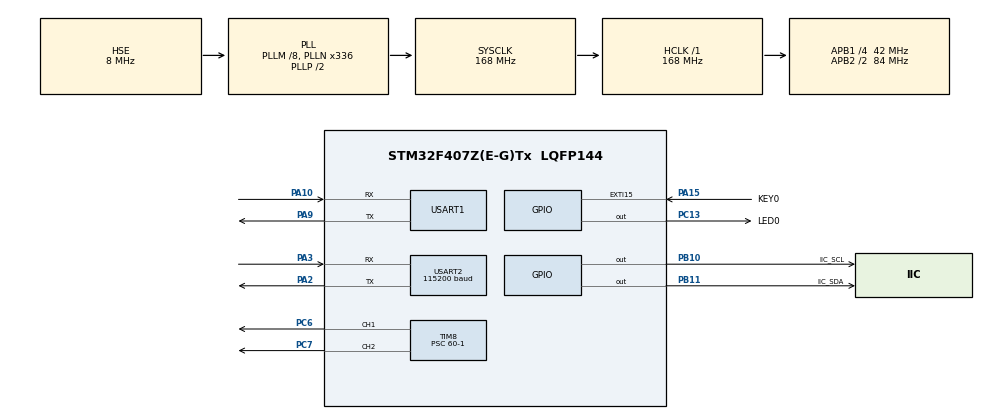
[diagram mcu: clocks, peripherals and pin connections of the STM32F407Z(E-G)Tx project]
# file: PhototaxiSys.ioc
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Dma.MEMTOMEM.0.Direction=DMA_MEMORY_TO_MEMORY
Dma.MEMTOMEM.0.FIFOMode=DMA_FIFOMODE_ENABLE
Dma.MEMTOMEM.0.FIFOThreshold=DMA_FIFO_THRESHOLD_FULL
Dma.MEMTOMEM.0.Instance=DMA2_Stream0
Dma.MEMTOMEM.0.MemBurst=DMA_MBURST_SINGLE
Dma.MEMTOMEM.0.MemDataAlignment=DMA_MDATAALIGN_BYTE
Dma.MEMTOMEM.0.MemInc=DMA_MINC_ENABLE
Dma.MEMTOMEM.0.Mode=DMA_NORMAL
Dma.MEMTOMEM.0.PeriphBurst=DMA_PBURST_SINGLE
Dma.MEMTOMEM.0.PeriphDataAlignment=DMA_PDATAALIGN_BYTE
Dma.MEMTOMEM.0.PeriphInc=DMA_PINC_ENABLE
Dma.MEMTOMEM.0.Priority=DMA_PRIORITY_VERY_HIGH
Dma.Request0=MEMTOMEM
Mcu.Family=STM32F4
Mcu.Name=STM32F407Z(E-G)Tx
Mcu.Package=LQFP144
NVIC.EXTI15_10_IRQn=true\:1\:0\:true\:false\:true\:true\:true\:true
NVIC.PriorityGroup=NVIC_PRIORITYGROUP_4
NVIC.TIM7_IRQn=true\:4\:0\:true\:false\:true\:true\:true\:true
NVIC.USART1_IRQn=true\:2\:0\:true\:false\:true\:true\:true\:true
NVIC.USART2_IRQn=true\:3\:0\:true\:false\:true\:true\:true\:true
PA10.Mode=Asynchronous
PA10.Signal=USART1_RX
PA13.Mode=Serial_Wire
PA13.Signal=SYS_JTMS-SWDIO
PA14.Mode=Serial_Wire
PA14.Signal=SYS_JTCK-SWCLK
PA15.GPIO_Label=KEY0
PA15.GPIO_ModeDefaultEXTI=GPIO_MODE_IT_FALLING
PA15.GPIO_PuPd=GPIO_PULLUP
PA15.Signal=GPXTI15
PA2.Mode=Asynchronous
PA2.Signal=USART2_TX
PA3.Mode=Asynchronous
PA3.Signal=USART2_RX
PA9.Mode=Asynchronous
PA9.Signal=USART1_TX
PB10.GPIO_Label=IIC_SCL
PB10.GPIO_PuPd=GPIO_PULLUP
PB10.GPIO_Speed=GPIO_SPEED_FREQ_VERY_HIGH
PB10.PinState=GPIO_PIN_SET
PB10.Signal=GPIO_Output
PB11.GPIO_Label=IIC_SDA
PB11.GPIO_PuPd=GPIO_PULLUP
PB11.GPIO_Speed=GPIO_SPEED_FREQ_VERY_HIGH
PB11.PinState=GPIO_PIN_SET
PB11.Signal=GPIO_Output
PC13-ANTI_TAMP.GPIO_Label=LED0
PC13-ANTI_TAMP.GPIO_PuPd=GPIO_PULLUP
PC13-ANTI_TAMP.PinState=GPIO_PIN_SET
PC13-ANTI_TAMP.Signal=GPIO_Output
PC6.Signal=S_TIM8_CH1
PC7.Signal=S_TIM8_CH2
PD8.Signal=USART3_TX
PD9.Signal=USART3_RX
PH0-OSC_IN.Mode=HSE-External-Oscillator
PH0-OSC_IN.Signal=RCC_OSC_IN
PH1-OSC_OUT.Mode=HSE-External-Oscillator
PH1-OSC_OUT.Signal=RCC_OSC_OUT
ProjectManager.HeapSize=0xC00
ProjectManager.StackSize=0x400
ProjectManager.TargetToolchain=MDK-ARM V5
RCC.48MHZClocksFreq_Value=48000000
RCC.AHBFreq_Value=168000000
RCC.APB1CLKDivider=RCC_HCLK_DIV4
RCC.APB1Freq_Value=42000000
RCC.APB1TimFreq_Value=84000000
RCC.APB2CLKDivider=RCC_HCLK_DIV2
RCC.APB2Freq_Value=84000000
RCC.APB2TimFreq_Value=168000000
RCC.CortexFreq_Value=168000000
RCC.EnbaleCSS=true
RCC.HCLKFreq_Value=168000000
RCC.HSE_VALUE=8000000
RCC.HSI_VALUE=16000000
RCC.LSE_VALUE=32768
RCC.PLLM=8
RCC.PLLN=336
RCC.PLLQ=7
RCC.PLLSourceVirtual=RCC_PLLSOURCE_HSE
RCC.SYSCLKFreq_VALUE=168000000
RCC.SYSCLKSource=RCC_SYSCLKSOURCE_PLLCLK
RCC.VCOOutputFreq_Value=336000000
SH.S_TIM8_CH1.0=TIM8_CH1,PWM Generation1 CH1
SH.S_TIM8_CH2.0=TIM8_CH2,PWM Generation2 CH2
TIM7.AutoReloadPreload=TIM_AUTORELOAD_PRELOAD_ENABLE
TIM7.Period=10000-1
TIM7.Prescaler=84-1
TIM8.AutoReloadPreload=TIM_AUTORELOAD_PRELOAD_ENABLE
TIM8.Channel-PWM\ Generation1\ CH1=TIM_CHANNEL_1
TIM8.Channel-PWM\ Generation2\ CH2=TIM_CHANNEL_2
TIM8.Period=56000-1
TIM8.Prescaler=60-1
USART1.VirtualMode=VM_ASYNC
USART2.BaudRate=115200
USART2.VirtualMode=VM_ASYNC
VP_TIM7_VS_ClockSourceINT.Mode=Enable_Timer
board=custom

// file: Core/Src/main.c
/* USER CODE BEGIN Header */
/**
 ******************************************************************************
 * @file           : main.c
 * @brief          : Main program body
 ******************************************************************************
 * @attention
 *
 * Copyright (c) 2023 STMicroelectronics.
 * All rights reserved.
 *
 * This software is licensed under terms that can be found in the LICENSE file
 * in the root directory of this software component.
 * If no LICENSE file comes with this software, it is provided AS-IS.
 *
 ******************************************************************************
 */
/* USER CODE END Header */
#include "main.h"
#include "dma.h"
#include "tim.h"
#include "usart.h"
#include "gpio.h"

/* USER CODE BEGIN Includes */

#include "sys.h"
#include "delay.h"
#include "protocol.h" //仅在调试串口通信的时候需要
#include "stmflash.h"
#include "gimbal.h"

/* USER CODE END Includes */

/* USER CODE BEGIN PM */

void SendMsgToSerial(cJSON *root);
void ProcessCmdFromSerial(void);

/* USER CODE END PM */

/* USER CODE BEGIN PV */
extern uint8_t extiEvent;
/* USER CODE END PV */

void SystemClock_Config(void);

int main(void)
{
  /* USER CODE BEGIN 1 */
  int i = 0;
  /* USER CODE END 1 */

  /* MCU Configuration--------------------------------------------------------*/

  /* Reset of all peripherals, Initializes the Flash interface and the Systick. */
  HAL_Init();

  /* Configure the system clock */
  SystemClock_Config();

  /* Initialize all configured peripherals */
  MX_GPIO_Init();
  MX_DMA_Init();
  MX_TIM7_Init();
  MX_TIM8_Init();
  MX_USART1_UART_Init();
  MX_USART2_UART_Init();
  /* USER CODE BEGIN 2 */

  delay_init(168);

  Laser_Gimbal_Init();
  Gimbal.SetTask(&Gimbal, GIMBAL_SLAVE_TASK);
  Gimbal.Start(&Gimbal);
  printf("slave mode\r\n");

  /* USER CODE END 2 */

  /* Infinite loop */
  while (1)
  {

    /* USER CODE BEGIN 3 */

    if (extiEvent == KEY0_EVENT)
    {
      i++;
      if (i % 2)
      {
        Gimbal.SetTask(&Gimbal, GIMBAL_NO_TASK);
        extiEvent = 0;
      }
      else
      {
        Gimbal.SetTask(&Gimbal, GIMBAL_SLAVE_TASK);
      }
      extiEvent = NO_EVENT;
    }
    HAL_GPIO_TogglePin(LED0_GPIO_Port, LED0_Pin);
    ProcessCmdFromSerial();
    delay_ms(100);
  }
  /* USER CODE END 3 */
}

void SystemClock_Config(void)
{
  RCC_OscInitTypeDef RCC_OscInitStruct = {0};
  RCC_ClkInitTypeDef RCC_ClkInitStruct = {0};

  /** Configure the main internal regulator output voltage
   */
  __HAL_RCC_PWR_CLK_ENABLE();
  __HAL_PWR_VOLTAGESCALING_CONFIG(PWR_REGULATOR_VOLTAGE_SCALE1);

  /** Initializes the RCC Oscillators according to the specified parameters
   * in the RCC_OscInitTypeDef structure.
   */
  RCC_OscInitStruct.OscillatorType = RCC_OSCILLATORTYPE_HSE;
  RCC_OscInitStruct.HSEState = RCC_HSE_ON;
  RCC_OscInitStruct.PLL.PLLState = RCC_PLL_ON;
  RCC_OscInitStruct.PLL.PLLSource = RCC_PLLSOURCE_HSE;
  RCC_OscInitStruct.PLL.PLLM = 8;
  RCC_OscInitStruct.PLL.PLLN = 336;
  RCC_OscInitStruct.PLL.PLLP = RCC_PLLP_DIV2;
  RCC_OscInitStruct.PLL.PLLQ = 7;
  if (HAL_RCC_OscConfig(&RCC_OscInitStruct) != HAL_OK)
  {
    Error_Handler();
  }

  /** Initializes the CPU, AHB and APB buses clocks
   */
  RCC_ClkInitStruct.ClockType = RCC_CLOCKTYPE_HCLK | RCC_CLOCKTYPE_SYSCLK | RCC_CLOCKTYPE_PCLK1 | RCC_CLOCKTYPE_PCLK2;
  RCC_ClkInitStruct.SYSCLKSource = RCC_SYSCLKSOURCE_PLLCLK;
  RCC_ClkInitStruct.AHBCLKDivider = RCC_SYSCLK_DIV1;
  RCC_ClkInitStruct.APB1CLKDivider = RCC_HCLK_DIV4;
  RCC_ClkInitStruct.APB2CLKDivider = RCC_HCLK_DIV2;

  if (HAL_RCC_ClockConfig(&RCC_ClkInitStruct, FLASH_LATENCY_5) != HAL_OK)
  {
    Error_Handler();
  }

  /** Enables the Clock Security System
   */
  HAL_RCC_EnableCSS();
}

/* USER CODE BEGIN 4 */

void removeWhitespace(char *str)
{
  char *p = str;
  char *q = str;
  while (*p != '\0')
  {
    if (!isspace((unsigned char)*p))
    {
      *q = *p;
      q++;
    }
    p++;
  }
  *q = '\0';
}

void SendMsgToSerial(cJSON *root)
{
  char *json_str = cJSON_Print(root);
  removeWhitespace(json_str);
  printf("%s\r\n", json_str);
  free(json_str);
}

void ProcessCmd(const char *json_str)
{
  // 解析 JSON
  cJSON *root = cJSON_Parse(json_str);
  if (root == NULL)
  {
    printf("Failed to parse JSON: %s\n", cJSON_GetErrorPtr());
    return;
  }
  // 处理 JSON 数据
  cJSON *Kp = cJSON_GetObjectItemCaseSensitive(root, "Kp");
  cJSON *Ki = cJSON_GetObjectItemCaseSensitive(root, "Ki");
  cJSON *Kd = cJSON_GetObjectItemCaseSensitive(root, "Kd");
  if (!cJSON_IsNumber(Kp) && !cJSON_IsNumber(Ki) && !cJSON_IsNumber(Kd))
  {
    printf("JSON format error\n");
  }
  else
  {
    Gimbal.Stop(&Gimbal);
    if (cJSON_IsNumber(Kp))
    {
      Gimbal.yawController.Kp = Kp->valuedouble;
      Gimbal.pitchController.Kp = Kp->valuedouble;
    }
    if (cJSON_IsNumber(Ki))
    {
      Gimbal.yawController.Ki = Ki->valuedouble;
      Gimbal.pitchController.Ki = Ki->valuedouble;
    }
    if (cJSON_IsNumber(Kd))
    {
      Gimbal.yawController.Kd = Kd->valuedouble;
      Gimbal.pitchController.Kd = Kd->valuedouble;
    }
    // 执行操作
    printf("Command received!\r\n");
    delay_ms(2000);
    Gimbal.Start(&Gimbal);
  }
  // 释放资源
  cJSON_Delete(root);
}

void ProcessCmdFromSerial(void)
{
  char jsonStrBuffer[DATA_MAX_LEN];
  if (UART_Frame.COM1_STA == NOT_EMPTY)
  {
    memcpy(jsonStrBuffer, UART_Frame.COM1_BUF, DATA_MAX_LEN);
    ProcessCmd((const char *)jsonStrBuffer);
    UART_Frame.COM1_STA = EMPTY;
  }
}

/* USER CODE END 4 */

void Error_Handler(void)
{
  __disable_irq();
  while (1)
  {
  }
}
